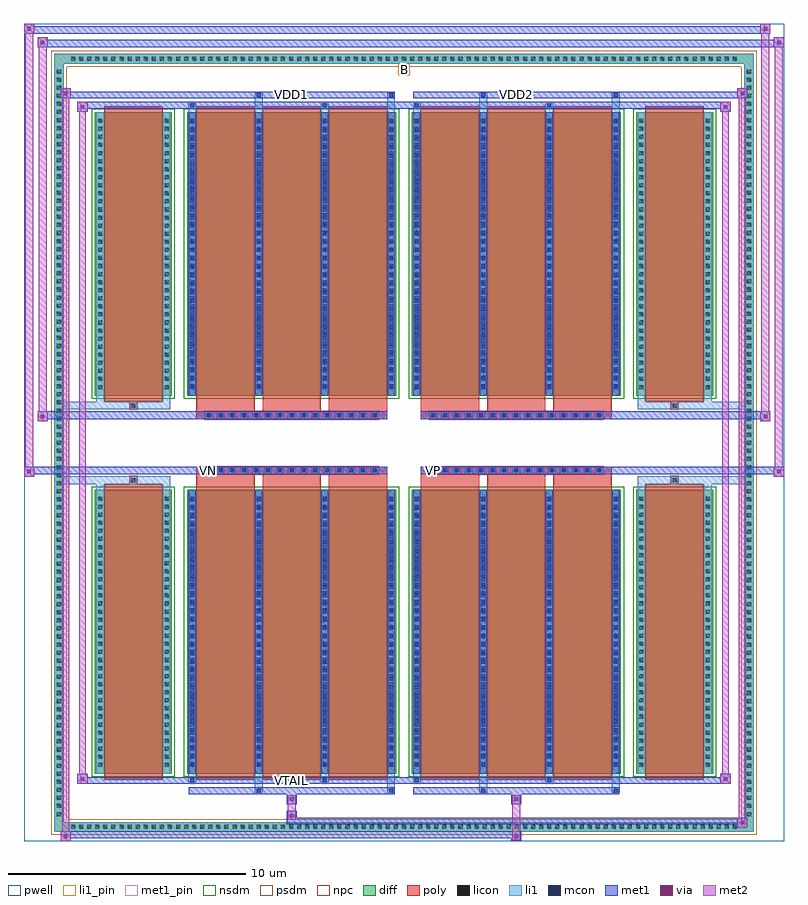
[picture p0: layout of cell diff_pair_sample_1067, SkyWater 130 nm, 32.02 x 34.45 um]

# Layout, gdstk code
import gdstk
lib = gdstk.Library(unit=1e-6, precision=5e-09)
def R(c, l, rs):  # rectangles x0, y0, x1, y1
    for r in rs: c.add(gdstk.rectangle(r[:2], r[2:], *l))
def A(c, l, x, y, w, h, nx, ny, dx, dy):  # array of equal rectangles
    R(c, l, [(x+i*dx, y+j*dy, x+i*dx+w, y+j*dy+h) for i in range(nx) for j in range(ny)])
def P(c, l, *ps):  # polygons
    for p in ps: c.add(gdstk.Polygon(p, *l))
pwell = (64, 44)
diff = (65, 20)
poly = (66, 20)
licon = (66, 44)
li1_pin = (67, 16)
li1 = (67, 20)
mcon = (67, 44)
met1_pin = (68, 16)
met1 = (68, 20)
via = (68, 44)
met2 = (69, 20)
nsdm = (93, 44)
psdm = (94, 20)
npc = (95, 20)

diff_pair_sample_1067 = lib.new_cell('diff_pair_sample_1067')
R(diff_pair_sample_1067, pwell, [(-16.01,-16.79,16.01,17.66), (-13.33,-14.98,-0.01,-0.8), (0.01,-14.98,13.33,-0.8), (-13.33,0.8,-0.01,14.98), (0.01,0.8,13.33,14.98)])
A(diff_pair_sample_1067, diff, -14.145, -16.39, 0.41, 0.41, 83, 2, 0.34, 32.37)
A(diff_pair_sample_1067, diff, -14.74, -15.845, 0.41, 0.41, 1, 93, 0, 0.34)
A(diff_pair_sample_1067, diff, 14.33, -15.845, 0.41, 0.41, 1, 93, 0, 0.34)
R(diff_pair_sample_1067, diff, [(-14.145,-16.39,14.145,-15.98), (-14.74,-15.845,-14.33,15.845), (14.33,-15.845,14.74,15.845), (-13.02,-13.935,-9.78,-1.985), (-9.14,-13.935,-0.32,-1.985), (0.32,-13.935,9.14,-1.985), (9.78,-13.935,13.02,-1.985), (-13.02,1.985,-9.78,13.935), (-9.14,1.985,-0.32,13.935), (0.32,1.985,9.14,13.935), (9.78,1.985,13.02,13.935), (-14.145,15.98,14.145,16.39)])
P(diff_pair_sample_1067, diff, [(14.74,16.39),(-14.74,16.39),(-14.74,-15.98),(-14.33,-15.98),(-14.33,15.98),(14.33,15.98),(14.33,-15.98),(-14.33,-15.98),(-14.74,-15.98),(-14.74,-16.39),(14.74,-16.39)])
A(diff_pair_sample_1067, poly, -8.75, -14.185, 2.46, 12.45, 3, 2, 2.79, 15.92)
A(diff_pair_sample_1067, poly, 0.71, -14.185, 2.46, 12.45, 3, 2, 2.79, 15.92)
A(diff_pair_sample_1067, poly, -8.75, -1.735, 2.46, 0.405, 3, 2, 2.79, 3.065)
A(diff_pair_sample_1067, poly, 0.71, -1.735, 2.46, 0.405, 3, 2, 2.79, 3.065)
A(diff_pair_sample_1067, poly, -8.395, -1.33, 0.33, 0.33, 15, 2, 0.5, 2.33)
A(diff_pair_sample_1067, poly, 1.065, -1.33, 0.33, 0.33, 15, 2, 0.5, 2.33)
R(diff_pair_sample_1067, poly, [(-12.63,-14.185,-10.17,-1.735), (10.17,-14.185,12.63,-1.735), (-11.565,-1.735,-11.235,-1.405), (-11.565,-1.735,-11.235,-1.405), (11.235,-1.735,11.565,-1.405), (11.235,-1.735,11.565,-1.405), (-8.75,-1.33,-0.71,-1), (0.71,-1.33,8.75,-1), (-8.75,1,-0.71,1.33), (0.71,1,8.75,1.33), (-11.565,1.405,-11.235,1.735), (-11.565,1.405,-11.235,1.735), (11.235,1.405,11.565,1.735), (11.235,1.405,11.565,1.735), (-12.63,1.735,-10.17,14.185), (10.17,1.735,12.63,14.185)])
A(diff_pair_sample_1067, licon, -14.025, -16.27, 0.17, 0.17, 83, 2, 0.34, 32.37)
A(diff_pair_sample_1067, licon, -14.62, -15.725, 0.17, 0.17, 1, 93, 0, 0.34)
A(diff_pair_sample_1067, licon, 14.45, -15.725, 0.17, 0.17, 1, 93, 0, 0.34)
A(diff_pair_sample_1067, licon, -12.88, -13.655, 0.17, 0.17, 1, 34, 0, 0.34)
A(diff_pair_sample_1067, licon, -10.09, -13.655, 0.17, 0.17, 1, 34, 0, 0.34)
A(diff_pair_sample_1067, licon, -9, -13.655, 0.17, 0.17, 4, 34, 2.79, 0.34)
A(diff_pair_sample_1067, licon, 0.46, -13.655, 0.17, 0.17, 4, 34, 2.79, 0.34)
A(diff_pair_sample_1067, licon, 9.92, -13.655, 0.17, 0.17, 1, 34, 0, 0.34)
A(diff_pair_sample_1067, licon, 12.71, -13.655, 0.17, 0.17, 1, 34, 0, 0.34)
A(diff_pair_sample_1067, licon, -8.315, -1.25, 0.17, 0.17, 15, 2, 0.5, 2.33)
A(diff_pair_sample_1067, licon, 1.145, -1.25, 0.17, 0.17, 15, 2, 0.5, 2.33)
A(diff_pair_sample_1067, licon, -12.88, 2.265, 0.17, 0.17, 1, 34, 0, 0.34)
A(diff_pair_sample_1067, licon, -10.09, 2.265, 0.17, 0.17, 1, 34, 0, 0.34)
A(diff_pair_sample_1067, licon, -9, 2.265, 0.17, 0.17, 4, 34, 2.79, 0.34)
A(diff_pair_sample_1067, licon, 0.46, 2.265, 0.17, 0.17, 4, 34, 2.79, 0.34)
A(diff_pair_sample_1067, licon, 9.92, 2.265, 0.17, 0.17, 1, 34, 0, 0.34)
A(diff_pair_sample_1067, licon, 12.71, 2.265, 0.17, 0.17, 1, 34, 0, 0.34)
R(diff_pair_sample_1067, licon, [(-11.485,-1.655,-11.315,-1.485), (11.315,-1.655,11.485,-1.485), (-11.485,1.485,-11.315,1.655), (11.315,1.485,11.485,1.655)])
R(diff_pair_sample_1067, li1_pin, [(-0.25,15.48,0.25,15.98)])
A(diff_pair_sample_1067, li1, -14.105, -16.35, 0.33, 0.33, 83, 2, 0.34, 32.37)
A(diff_pair_sample_1067, li1, -14.7, -15.805, 0.33, 0.33, 1, 93, 0, 0.34)
A(diff_pair_sample_1067, li1, 14.37, -15.805, 0.33, 0.33, 1, 93, 0, 0.34)
A(diff_pair_sample_1067, li1, -9.08, -13.935, 0.33, 11.95, 4, 2, 2.79, 15.92)
A(diff_pair_sample_1067, li1, 0.38, -13.935, 0.33, 11.95, 4, 2, 2.79, 15.92)
A(diff_pair_sample_1067, li1, -12.96, -13.735, 0.33, 0.33, 1, 34, 0, 0.34)
A(diff_pair_sample_1067, li1, -10.17, -13.735, 0.33, 0.33, 1, 34, 0, 0.34)
A(diff_pair_sample_1067, li1, -9.08, -13.735, 0.33, 0.33, 4, 34, 2.79, 0.34)
A(diff_pair_sample_1067, li1, 0.38, -13.735, 0.33, 0.33, 4, 34, 2.79, 0.34)
A(diff_pair_sample_1067, li1, 9.84, -13.735, 0.33, 0.33, 1, 34, 0, 0.34)
A(diff_pair_sample_1067, li1, 12.63, -13.735, 0.33, 0.33, 1, 34, 0, 0.34)
A(diff_pair_sample_1067, li1, -9, -13.625, 0.17, 0.17, 4, 32, 2.79, 0.36)
A(diff_pair_sample_1067, li1, -9, -13.625, 0.17, 11.33, 4, 2, 2.79, 15.92)
A(diff_pair_sample_1067, li1, 0.46, -13.625, 0.17, 0.17, 4, 32, 2.79, 0.36)
A(diff_pair_sample_1067, li1, 0.46, -13.625, 0.17, 11.33, 4, 2, 2.79, 15.92)
A(diff_pair_sample_1067, li1, -8.395, -1.33, 0.33, 0.33, 15, 2, 0.5, 2.33)
A(diff_pair_sample_1067, li1, 1.065, -1.33, 0.33, 0.33, 15, 2, 0.5, 2.33)
A(diff_pair_sample_1067, li1, -12.96, 2.185, 0.33, 0.33, 1, 34, 0, 0.34)
A(diff_pair_sample_1067, li1, -10.17, 2.185, 0.33, 0.33, 1, 34, 0, 0.34)
A(diff_pair_sample_1067, li1, -9.08, 2.185, 0.33, 0.33, 4, 34, 2.79, 0.34)
A(diff_pair_sample_1067, li1, 0.38, 2.185, 0.33, 0.33, 4, 34, 2.79, 0.34)
A(diff_pair_sample_1067, li1, 9.84, 2.185, 0.33, 0.33, 1, 34, 0, 0.34)
A(diff_pair_sample_1067, li1, 12.63, 2.185, 0.33, 0.33, 1, 34, 0, 0.34)
A(diff_pair_sample_1067, li1, -9, 2.295, 0.17, 0.17, 4, 32, 2.79, 0.36)
A(diff_pair_sample_1067, li1, 0.46, 2.295, 0.17, 0.17, 4, 32, 2.79, 0.36)
R(diff_pair_sample_1067, li1, [(-14.74,-16.39,-14.33,-15.98), (-14.74,-16.39,-14.33,-15.98), (-14.33,-16.39,14.33,-15.98), (14.33,-16.39,14.74,-15.98), (14.33,-16.39,14.74,-15.98), (-14.74,-15.98,-14.33,15.98), (14.33,-15.98,14.74,15.98), (-6.29,-14.74,-5.96,-13.935), (-6.21,-14.74,-6.04,-14.57), (-0.71,-14.74,-0.38,-13.935), (-0.63,-14.74,-0.46,-14.57), (3.17,-14.74,3.5,-13.935), (3.25,-14.74,3.42,-14.57), (8.75,-14.74,9.08,-13.935), (8.83,-14.74,9,-14.57), (-9.08,-14.31,-8.75,-13.935), (-9,-14.31,-8.83,-14.14), (-3.5,-14.31,-3.17,-13.935), (-3.42,-14.31,-3.25,-14.14), (0.38,-14.31,0.71,-13.935), (0.46,-14.31,0.63,-14.14), (5.96,-14.31,6.29,-13.935), (6.04,-14.31,6.21,-14.14), (-12.96,-13.935,-12.63,-1.985), (-10.17,-13.935,-9.84,-1.985), (9.84,-13.935,10.17,-1.985), (12.63,-13.935,12.96,-1.985), (-12.96,-1.985,-12.63,-1.405), (-10.17,-1.985,-9.84,-1.405), (9.84,-1.985,10.17,-1.405), (12.63,-1.985,12.96,-1.405), (-14.74,-1.735,-11.565,-1.405), (-12.96,-1.735,-11.565,-1.405), (-11.565,-1.735,-11.235,-1.405), (-11.235,-1.735,-9.84,-1.405), (9.84,-1.735,11.235,-1.405), (11.235,-1.735,11.565,-1.405), (11.235,-1.735,14.74,-1.405), (11.565,-1.735,12.96,-1.405), (-14.74,1.405,-11.565,1.735), (-12.96,1.405,-11.565,1.735), (-12.96,1.405,-12.63,1.985), (-11.565,1.405,-11.235,1.735), (-11.235,1.405,-9.84,1.735), (-10.17,1.405,-9.84,1.985), (9.84,1.405,11.235,1.735), (9.84,1.405,10.17,1.985), (11.235,1.405,11.565,1.735), (11.235,1.405,14.74,1.735), (11.565,1.405,12.96,1.735), (12.63,1.405,12.96,1.985), (-12.96,1.985,-12.63,13.935), (-10.17,1.985,-9.84,13.935), (9.84,1.985,10.17,13.935), (12.63,1.985,12.96,13.935), (-9.08,13.935,-8.75,14.31), (-6.29,13.935,-5.96,14.74), (-3.5,13.935,-3.17,14.31), (-0.71,13.935,-0.38,14.74), (0.38,13.935,0.71,14.31), (3.17,13.935,3.5,14.74), (5.96,13.935,6.29,14.31), (8.75,13.935,9.08,14.74), (-9,14.14,-8.83,14.31), (-3.42,14.14,-3.25,14.31), (0.46,14.14,0.63,14.31), (6.04,14.14,6.21,14.31), (-6.21,14.57,-6.04,14.74), (-0.63,14.57,-0.46,14.74), (3.25,14.57,3.42,14.74), (8.83,14.57,9,14.74), (-14.74,15.98,-14.33,16.39), (-14.74,15.98,-14.33,16.39), (-14.33,15.98,14.33,16.39), (14.33,15.98,14.74,16.39), (14.33,15.98,14.74,16.39)])
A(diff_pair_sample_1067, mcon, -9, -13.625, 0.17, 0.17, 4, 32, 2.79, 0.36)
A(diff_pair_sample_1067, mcon, 0.46, -13.625, 0.17, 0.17, 4, 32, 2.79, 0.36)
A(diff_pair_sample_1067, mcon, -8.315, -1.25, 0.17, 0.17, 15, 2, 0.5, 2.33)
A(diff_pair_sample_1067, mcon, 1.145, -1.25, 0.17, 0.17, 15, 2, 0.5, 2.33)
A(diff_pair_sample_1067, mcon, -9, 2.295, 0.17, 0.17, 4, 32, 2.79, 0.36)
A(diff_pair_sample_1067, mcon, 0.46, 2.295, 0.17, 0.17, 4, 32, 2.79, 0.36)
R(diff_pair_sample_1067, mcon, [(-6.21,-14.74,-6.04,-14.57), (-0.63,-14.74,-0.46,-14.57), (3.25,-14.74,3.42,-14.57), (8.83,-14.74,9,-14.57), (-9,-14.31,-8.83,-14.14), (-3.42,-14.31,-3.25,-14.14), (0.46,-14.31,0.63,-14.14), (6.04,-14.31,6.21,-14.14), (-9,14.14,-8.83,14.31), (-3.42,14.14,-3.25,14.31), (0.46,14.14,0.63,14.31), (6.04,14.14,6.21,14.31), (-6.21,14.57,-6.04,14.74), (-0.63,14.57,-0.46,14.74), (3.25,14.57,3.42,14.74), (8.83,14.57,9,14.74)])
R(diff_pair_sample_1067, met1_pin, [(-4.865,-14.35,-4.595,-14.08), (-8.365,-1.29,-8.095,-1.02), (1.095,-1.29,1.365,-1.02), (-4.865,14.53,-4.595,14.8), (4.595,14.53,4.865,14.8)])
A(diff_pair_sample_1067, met1, -9.06, -13.935, 0.29, 11.95, 4, 2, 2.79, 15.92)
A(diff_pair_sample_1067, met1, 0.4, -13.935, 0.29, 11.95, 4, 2, 2.79, 15.92)
A(diff_pair_sample_1067, met1, -9.06, -13.685, 0.29, 0.29, 4, 32, 2.79, 0.36)
A(diff_pair_sample_1067, met1, 0.4, -13.685, 0.29, 0.29, 4, 32, 2.79, 0.36)
A(diff_pair_sample_1067, met1, -8.375, -1.31, 0.29, 0.29, 15, 2, 0.5, 2.33)
A(diff_pair_sample_1067, met1, 1.085, -1.31, 0.29, 0.29, 15, 2, 0.5, 2.33)
A(diff_pair_sample_1067, met1, -9.06, 2.235, 0.29, 0.29, 4, 32, 2.79, 0.36)
A(diff_pair_sample_1067, met1, 0.4, 2.235, 0.29, 0.29, 4, 32, 2.79, 0.36)
R(diff_pair_sample_1067, met1, [(-14.47,-16.79,-14.04,-16.36), (4.515,-16.79,4.945,-16.36), (-14.47,-16.65,4.945,-16.36), (14.04,-16.22,14.47,-15.79), (-4.945,-16.08,14.47,-15.79), (-4.945,-15.94,-4.515,-15.51), (-4.945,-15.23,-4.515,-14.8), (4.515,-15.23,4.945,-14.8), (-9.06,-14.8,-0.4,-14.51), (-6.27,-14.8,-5.98,-14.51), (-0.69,-14.8,-0.4,-14.51), (0.4,-14.8,9.06,-14.51), (3.19,-14.8,3.48,-14.51), (8.77,-14.8,9.06,-14.51), (-13.76,-14.37,-13.33,-13.94), (-13.76,-14.37,-9.06,-14.08), (-9.06,-14.37,-8.77,-14.08), (-9.06,-14.37,-0.4,-14.08), (-3.48,-14.37,-3.19,-14.08), (-0.4,-14.37,0.4,-14.08), (0.4,-14.37,0.69,-14.08), (0.4,-14.37,9.06,-14.08), (5.98,-14.37,6.27,-14.08), (9.06,-14.37,13.76,-14.08), (13.33,-14.37,13.76,-13.94), (-16.01,-1.43,-15.58,-1), (15.58,-1.43,16.01,-1), (-16.01,-1.33,-0.71,-1), (-8.75,-1.33,-0.71,-1), (0.71,-1.33,8.75,-1), (0.71,-1.33,16.01,-1), (-15.44,0.9,-15.01,1.33), (15.01,0.9,15.44,1.33), (-15.44,1,-8.75,1.33), (-8.75,1,-0.71,1.33), (0.71,1,8.75,1.33), (8.75,1,15.44,1.33), (-13.76,13.94,-13.33,14.37), (13.33,13.94,13.76,14.37), (-13.76,14.08,-9.06,14.37), (-9.06,14.08,-8.77,14.37), (-9.06,14.08,-0.4,14.37), (-3.48,14.08,-3.19,14.37), (-0.4,14.08,0.4,14.37), (0.4,14.08,0.69,14.37), (0.4,14.08,9.06,14.37), (5.98,14.08,6.27,14.37), (9.06,14.08,13.76,14.37), (-14.47,14.51,-14.04,14.94), (-14.47,14.51,-9.06,14.8), (-9.06,14.51,-0.4,14.8), (-6.27,14.51,-5.98,14.8), (-0.69,14.51,-0.4,14.8), (0.4,14.51,9.06,14.8), (3.19,14.51,3.48,14.8), (8.77,14.51,9.06,14.8), (9.06,14.51,14.47,14.8), (14.04,14.51,14.47,14.94), (-15.44,16.66,-15.01,17.09), (-15.44,16.66,-13.33,16.99), (-13.33,16.66,13.33,16.99), (13.33,16.66,16.01,16.99), (15.58,16.66,16.01,17.09), (-16.01,17.23,-15.58,17.66), (-16.01,17.23,-13.33,17.56), (-13.33,17.23,13.33,17.56), (13.33,17.23,15.44,17.56), (15.01,17.23,15.44,17.66)])
R(diff_pair_sample_1067, via, [(-14.33,-16.65,-14.18,-16.5), (4.655,-16.65,4.805,-16.5), (14.18,-16.08,14.33,-15.93), (-4.805,-15.8,-4.655,-15.65), (-4.805,-15.09,-4.655,-14.94), (4.655,-15.09,4.805,-14.94), (-13.62,-14.23,-13.47,-14.08), (13.47,-14.23,13.62,-14.08), (-15.87,-1.29,-15.72,-1.14), (15.72,-1.29,15.87,-1.14), (-15.3,1.04,-15.15,1.19), (15.15,1.04,15.3,1.19), (-13.62,14.08,-13.47,14.23), (13.47,14.08,13.62,14.23), (-14.33,14.65,-14.18,14.8), (14.18,14.65,14.33,14.8), (-15.3,16.8,-15.15,16.95), (15.72,16.8,15.87,16.95), (-15.87,17.37,-15.72,17.52), (15.15,17.37,15.3,17.52)])
R(diff_pair_sample_1067, met2, [(-14.47,-16.79,-14.04,-16.36), (-14.4,-16.79,-14.11,14.94), (-14.11,-16.79,-14.04,-16.36), (-14.42,-16.74,-14.09,-16.41), (4.565,-16.74,4.895,-16.41), (4.565,-16.41,4.895,-15.18), (14.04,-16.22,14.47,-15.79), (14.11,-16.22,14.4,14.94), (14.4,-16.22,14.47,-15.79), (14.09,-16.17,14.42,-15.84), (-4.895,-15.89,-4.565,-15.56), (-4.895,-15.56,-4.565,-15.18), (-4.895,-15.18,-4.565,-14.85), (4.565,-15.18,4.895,-14.85), (-13.76,-14.37,-13.33,-13.94), (-13.69,-14.37,-13.4,14.37), (-13.4,-14.37,-13.33,-13.94), (13.33,-14.37,13.76,-13.94), (13.4,-14.37,13.69,14.37), (13.69,-14.37,13.76,-13.94), (-13.71,-14.32,-13.38,-13.99), (13.38,-14.32,13.71,-13.99), (-16.01,-1.43,-15.58,-1), (-15.96,-1.43,-15.63,17.66), (-15.63,-1.43,-15.58,-1), (15.58,-1.43,16.01,-1), (15.63,-1.43,15.96,17.09), (15.96,-1.43,16.01,-1), (-15.96,-1.38,-15.63,-1.05), (15.63,-1.38,15.96,-1.05), (-15.44,0.9,-15.01,1.33), (-15.39,0.9,-15.06,17.09), (-15.06,0.9,-15.01,1.33), (15.01,0.9,15.44,1.33), (15.06,0.9,15.39,17.66), (15.39,0.9,15.44,1.33), (-15.39,0.95,-15.06,1.28), (15.06,0.95,15.39,1.28), (-13.76,13.94,-13.33,14.37), (-13.4,13.94,-13.33,14.37), (13.33,13.94,13.76,14.37), (13.69,13.94,13.76,14.37), (-13.71,13.99,-13.38,14.32), (13.38,13.99,13.71,14.32), (-14.47,14.51,-14.04,14.94), (-14.11,14.51,-14.04,14.94), (14.04,14.51,14.47,14.94), (14.4,14.51,14.47,14.94), (-14.42,14.56,-14.09,14.89), (14.09,14.56,14.42,14.89), (-15.44,16.66,-15.01,17.09), (-15.06,16.66,-15.01,17.09), (15.58,16.66,16.01,17.09), (15.96,16.66,16.01,17.09), (-15.39,16.71,-15.06,17.04), (15.63,16.71,15.96,17.04), (-16.01,17.23,-15.58,17.66), (-15.63,17.23,-15.58,17.66), (15.01,17.23,15.44,17.66), (15.39,17.23,15.44,17.66), (-15.96,17.28,-15.63,17.61), (15.06,17.28,15.39,17.61)])
R(diff_pair_sample_1067, nsdm, [(-13.15,-14.065,-9.65,-1.855), (-9.27,-14.065,-0.19,-1.855), (0.19,-14.065,9.27,-1.855), (9.65,-14.065,13.15,-1.855), (-13.15,1.855,-9.65,14.065), (-9.27,1.855,-0.19,14.065), (0.19,1.855,9.27,14.065), (9.65,1.855,13.15,14.065)])
P(diff_pair_sample_1067, psdm, [(14.87,16.52),(-14.87,16.52),(-14.87,-15.85),(-14.2,-15.85),(-14.2,15.85),(14.2,15.85),(14.2,-15.85),(-14.2,-15.85),(-14.87,-15.85),(-14.87,-16.52),(14.87,-16.52)])
A(diff_pair_sample_1067, npc, -8.415, -1.35, 0.37, 0.37, 15, 2, 0.5, 2.33)
A(diff_pair_sample_1067, npc, 1.045, -1.35, 0.37, 0.37, 15, 2, 0.5, 2.33)
R(diff_pair_sample_1067, npc, [(-11.585,-1.755,-11.215,-1.385), (11.215,-1.755,11.585,-1.385), (-8.415,-1.35,-7.545,-0.98), (-8.415,-1.35,-7.545,-0.98), (-7.915,-1.35,-7.045,-0.98), (-7.915,-1.35,-7.045,-0.98), (-7.415,-1.35,-6.545,-0.98), (-7.415,-1.35,-6.545,-0.98), (-6.915,-1.35,-6.045,-0.98), (-6.915,-1.35,-6.045,-0.98), (-6.415,-1.35,-5.545,-0.98), (-6.415,-1.35,-5.545,-0.98), (-5.915,-1.35,-5.045,-0.98), (-5.915,-1.35,-5.045,-0.98), (-5.415,-1.35,-4.545,-0.98), (-5.415,-1.35,-4.545,-0.98), (-4.915,-1.35,-4.045,-0.98), (-4.915,-1.35,-4.045,-0.98), (-4.415,-1.35,-3.545,-0.98), (-4.415,-1.35,-3.545,-0.98), (-3.915,-1.35,-3.045,-0.98), (-3.915,-1.35,-3.045,-0.98), (-3.415,-1.35,-2.545,-0.98), (-3.415,-1.35,-2.545,-0.98), (-2.915,-1.35,-2.045,-0.98), (-2.915,-1.35,-2.045,-0.98), (-2.415,-1.35,-1.545,-0.98), (-2.415,-1.35,-1.545,-0.98), (-1.915,-1.35,-1.045,-0.98), (-1.915,-1.35,-1.045,-0.98), (1.045,-1.35,1.915,-0.98), (1.045,-1.35,1.915,-0.98), (1.545,-1.35,2.415,-0.98), (1.545,-1.35,2.415,-0.98), (2.045,-1.35,2.915,-0.98), (2.045,-1.35,2.915,-0.98), (2.545,-1.35,3.415,-0.98), (2.545,-1.35,3.415,-0.98), (3.045,-1.35,3.915,-0.98), (3.045,-1.35,3.915,-0.98), (3.545,-1.35,4.415,-0.98), (3.545,-1.35,4.415,-0.98), (4.045,-1.35,4.915,-0.98), (4.045,-1.35,4.915,-0.98), (4.545,-1.35,5.415,-0.98), (4.545,-1.35,5.415,-0.98), (5.045,-1.35,5.915,-0.98), (5.045,-1.35,5.915,-0.98), (5.545,-1.35,6.415,-0.98), (5.545,-1.35,6.415,-0.98), (6.045,-1.35,6.915,-0.98), (6.045,-1.35,6.915,-0.98), (6.545,-1.35,7.415,-0.98), (6.545,-1.35,7.415,-0.98), (7.045,-1.35,7.915,-0.98), (7.045,-1.35,7.915,-0.98), (7.545,-1.35,8.415,-0.98), (7.545,-1.35,8.415,-0.98), (-8.415,0.98,-7.545,1.35), (-8.415,0.98,-7.545,1.35), (-7.915,0.98,-7.045,1.35), (-7.915,0.98,-7.045,1.35), (-7.415,0.98,-6.545,1.35), (-7.415,0.98,-6.545,1.35), (-6.915,0.98,-6.045,1.35), (-6.915,0.98,-6.045,1.35), (-6.415,0.98,-5.545,1.35), (-6.415,0.98,-5.545,1.35), (-5.915,0.98,-5.045,1.35), (-5.915,0.98,-5.045,1.35), (-5.415,0.98,-4.545,1.35), (-5.415,0.98,-4.545,1.35), (-4.915,0.98,-4.045,1.35), (-4.915,0.98,-4.045,1.35), (-4.415,0.98,-3.545,1.35), (-4.415,0.98,-3.545,1.35), (-3.915,0.98,-3.045,1.35), (-3.915,0.98,-3.045,1.35), (-3.415,0.98,-2.545,1.35), (-3.415,0.98,-2.545,1.35), (-2.915,0.98,-2.045,1.35), (-2.915,0.98,-2.045,1.35), (-2.415,0.98,-1.545,1.35), (-2.415,0.98,-1.545,1.35), (-1.915,0.98,-1.045,1.35), (-1.915,0.98,-1.045,1.35), (1.045,0.98,1.915,1.35), (1.045,0.98,1.915,1.35), (1.545,0.98,2.415,1.35), (1.545,0.98,2.415,1.35), (2.045,0.98,2.915,1.35), (2.045,0.98,2.915,1.35), (2.545,0.98,3.415,1.35), (2.545,0.98,3.415,1.35), (3.045,0.98,3.915,1.35), (3.045,0.98,3.915,1.35), (3.545,0.98,4.415,1.35), (3.545,0.98,4.415,1.35), (4.045,0.98,4.915,1.35), (4.045,0.98,4.915,1.35), (4.545,0.98,5.415,1.35), (4.545,0.98,5.415,1.35), (5.045,0.98,5.915,1.35), (5.045,0.98,5.915,1.35), (5.545,0.98,6.415,1.35), (5.545,0.98,6.415,1.35), (6.045,0.98,6.915,1.35), (6.045,0.98,6.915,1.35), (6.545,0.98,7.415,1.35), (6.545,0.98,7.415,1.35), (7.045,0.98,7.915,1.35), (7.045,0.98,7.915,1.35), (7.545,0.98,8.415,1.35), (7.545,0.98,8.415,1.35), (-11.585,1.385,-11.215,1.755), (11.215,1.385,11.585,1.755)])
diff_pair_sample_1067.add(gdstk.Label('VTAIL', (-4.73,-14.215), layer=68, texttype=5))
diff_pair_sample_1067.add(gdstk.Label('VN', (-8.23,-1.155), layer=68, texttype=5))
diff_pair_sample_1067.add(gdstk.Label('VP', (1.23,-1.155), layer=68, texttype=5))
diff_pair_sample_1067.add(gdstk.Label('B', (0,15.73), layer=67, texttype=5))
diff_pair_sample_1067.add(gdstk.Label('VDD2', (4.73,14.665), layer=68, texttype=5))
diff_pair_sample_1067.add(gdstk.Label('VDD1', (-4.73,14.665), layer=68, texttype=5))

lib.write_gds('diff_pair_sample_1067.gds')
